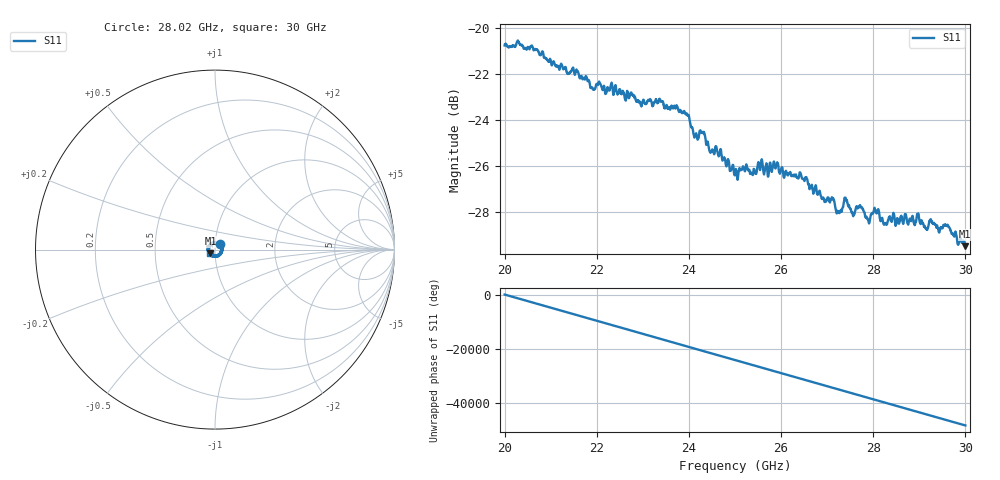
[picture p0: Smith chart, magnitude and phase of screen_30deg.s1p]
#  HZ  S  RI  R  50.00
! Rohde & Schwarz ZVA40 4Ports - Version 3.90 - 1145.1110k42 SN: 100403
! Date: 2023-09-28 10:07:52
! Measurement: S12
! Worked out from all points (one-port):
!   5001 points, 20 GHz to 30 GHz, reference 50 ohm
!   lowest |S11| = -29.5 dB at 29.99 GHz (marker M1), VSWR 1.07, Z = 47.5 - j2.06 ohm
!   |S11| at or under -10 dB: start of sweep to end of sweep
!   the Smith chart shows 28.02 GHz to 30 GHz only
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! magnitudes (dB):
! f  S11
! 20 GHz  -20.7
! 20.6 GHz  -20.8
! 21.25 GHz  -21.6
! 21.79 GHz  -22.3
! 21.91 GHz  -22.6
! 22.04 GHz  -22.4
! 22.5 GHz  -22.7
! 23.75 GHz  -23.4
! 23.97 GHz  -23.8
! 24.15 GHz  -24.6
! 24.29 GHz  -24.5
! 24.48 GHz  -25.4
! 25 GHz  -26.4
! 25.88 GHz  -26.0
! 26.25 GHz  -26.4
! 26.93 GHz  -27.4
! 27.12 GHz  -27.4
! 27.23 GHz  -27.9
! 27.4 GHz  -27.4
! 27.5 GHz  -27.8
! 27.73 GHz  -27.8
! 27.89 GHz  -28.3
! 28.07 GHz  -28.0
! 28.26 GHz  -28.5
! 28.75 GHz  -28.5
! 29.6 GHz  -28.6
! 29.99 GHz  -29.5
! 30 GHz  -29.4
